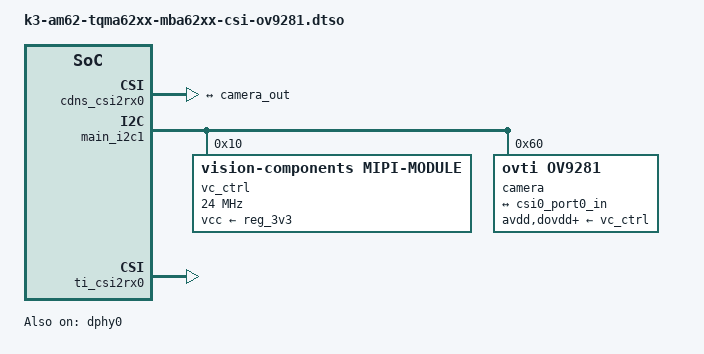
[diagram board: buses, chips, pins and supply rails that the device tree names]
// SPDX-License-Identifier: GPL-2.0-only OR MIT
/*
 * Copyright (c) 2023-2024 TQ-Systems GmbH <linux@ew.tq-group.com>, D-82229 Seefeld, Germany.
 * Author: Matthias Schiffer
 */

#include <dt-bindings/media/video-interfaces.h>

/dts-v1/;
/plugin/;

&cdns_csi2rx0 {
	ports {
		#address-cells = <1>;
		#size-cells = <0>;

		port@0 {
			reg = <0>;
			status = "okay";

			csi0_port0_in: endpoint {
				remote-endpoint = <&camera_out>;
				bus-type = <MEDIA_BUS_TYPE_CSI2_DPHY>;
				clock-lanes = <0>;
				data-lanes = <1 2>;
			};
		};
	};
};

&dphy0 {
	status = "okay";
};

&main_i2c1 {
	#address-cells = <1>;
	#size-cells = <0>;

	vc_ctrl: controller@10 {
		compatible = "vision-components,mipi-module";
		reg = <0x10>;
		#clock-cells = <0>;
		vcc-supply = <&reg_3v3>;
		clock-frequency = <24000000>;
	};

	camera: camera@60 {
		compatible = "ovti,ov9281";
		reg = <0x60>;
		clocks = <&vc_ctrl>;
		avdd-supply = <&vc_ctrl>;
		dovdd-supply = <&vc_ctrl>;
		dvdd-supply = <&vc_ctrl>;
		orientation = <2>;
		rotation = <0>;

		port {
			camera_out: endpoint {
				remote-endpoint = <&csi0_port0_in>;
				data-lanes = <1 2>;
				clock-lanes = <0>;
				clock-noncontinuous;
				link-frequencies = /bits/ 64 <400000000>;
			};
		};
	};
};

&ti_csi2rx0 {
	status = "okay";
};
